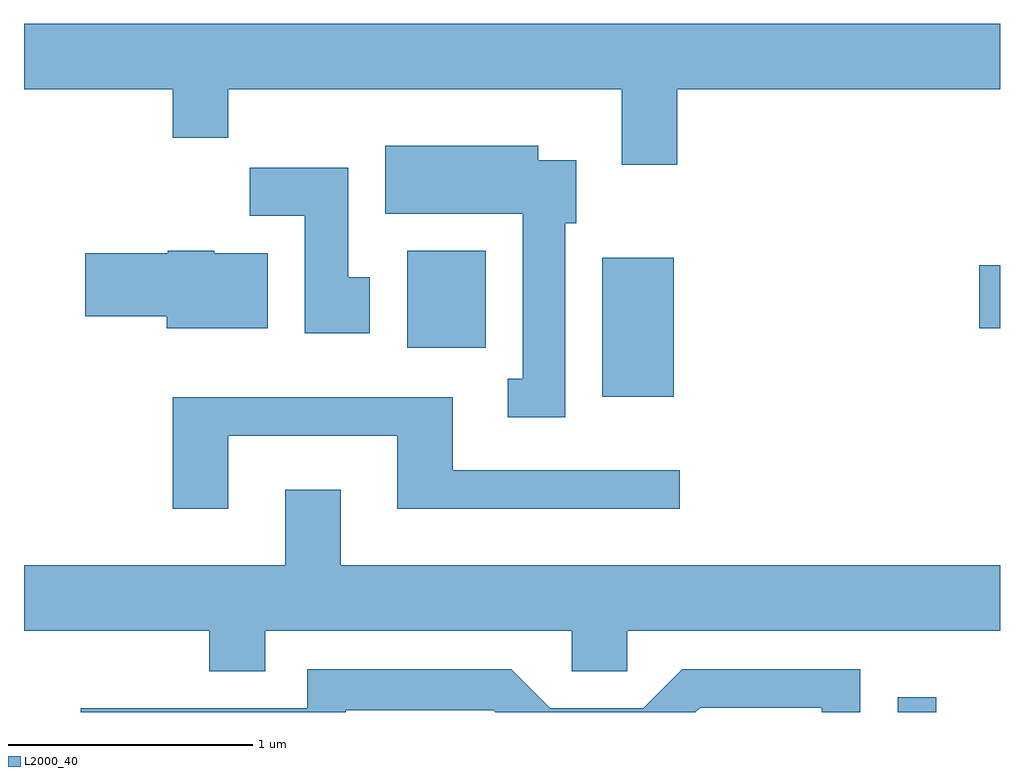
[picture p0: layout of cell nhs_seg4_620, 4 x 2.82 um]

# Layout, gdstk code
import gdstk
lib = gdstk.Library(unit=1e-6, precision=1e-09)
def R(c, l, rs):  # rectangles x0, y0, x1, y1
    for r in rs: c.add(gdstk.rectangle(r[:2], r[2:], *l))
def P(c, l, *ps):  # polygons
    for p in ps: c.add(gdstk.Polygon(p, *l))
L2000_40 = (2000, 40)

nhs_seg4_620 = lib.new_cell('nhs_seg4_620')
R(nhs_seg4_620, L2000_40, [(207.191,1269.982,207.349,1270.043), (205.981,1271.276,206.274,1271.844), (205.181,1271.476,205.504,1271.874), (207.526,1271.556,207.611,1271.814)])
P(nhs_seg4_620, L2000_40, [(206.289,1272.536),(207.611,1272.536),(207.611,1272.804),(203.611,1272.804),(203.611,1272.536),(204.221,1272.536),(204.221,1272.336),(204.449,1272.336),(204.449,1272.536),(206.061,1272.536),(206.061,1272.226),(206.289,1272.226)],
  [(205.829,1271.986),(205.874,1271.986),(205.874,1272.244),(205.719,1272.244),(205.719,1272.304),(205.091,1272.304),(205.091,1272.026),(205.656,1272.026),(205.656,1271.349),(205.593,1271.349),(205.593,1271.191),(205.829,1271.191)],
  [(205.029,1271.764),(204.939,1271.764),(204.939,1272.214),(204.536,1272.214),(204.536,1272.016),(204.761,1272.016),(204.761,1271.536),(205.029,1271.536)],
  [(204.609,1271.864),(204.39,1271.864),(204.39,1271.874),(204.2,1271.874),(204.2,1271.864),(203.861,1271.864),(203.861,1271.606),(204.196,1271.606),(204.196,1271.556),(204.609,1271.556)],
  [(204.449,1271.116),(205.141,1271.116),(205.141,1270.816),(206.298,1270.816),(206.298,1270.974),(205.369,1270.974),(205.369,1271.274),(204.221,1271.274),(204.221,1270.816),(204.449,1270.816)],
  [(204.599,1270.316),(205.856,1270.316),(205.856,1270.151),(206.084,1270.151),(206.084,1270.316),(207.611,1270.316),(207.611,1270.584),(204.909,1270.584),(204.909,1270.894),(204.681,1270.894),(204.681,1270.584),(203.611,1270.584),(203.611,1270.316),(204.371,1270.316),(204.371,1270.151),(204.599,1270.151)],
  [(204.929,1269.991),(205.534,1269.991),(205.543,1269.982),(206.363,1269.982),(206.382,1270.001),(206.881,1270.001),(206.881,1269.982),(207.039,1269.982),(207.039,1270.159),(206.309,1270.159),(206.149,1269.999),(205.767,1269.999),(205.607,1270.159),(204.771,1270.159),(204.771,1269.999),(203.843,1269.999),(203.843,1269.982),(204.929,1269.982)])

lib.write_gds('nhs_seg4_620.gds')
